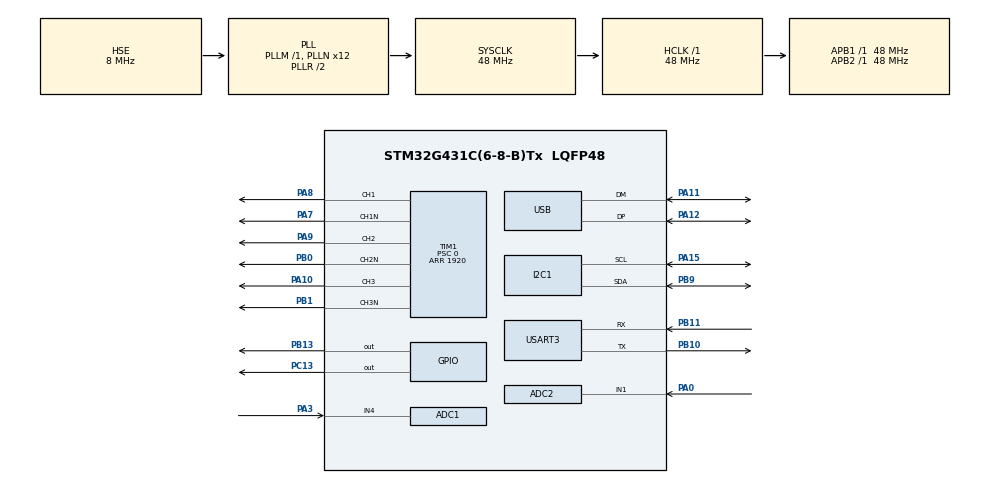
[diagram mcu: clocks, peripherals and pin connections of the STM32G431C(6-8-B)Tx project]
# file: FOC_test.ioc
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ADC1.Channel-1\#ChannelRegularConversion=ADC_CHANNEL_4
ADC1.NbrOfConversionFlag=1
ADC1.OffsetNumber-1\#ChannelRegularConversion=ADC_OFFSET_NONE
ADC1.Rank-1\#ChannelRegularConversion=1
ADC1.SamplingTime-1\#ChannelRegularConversion=ADC_SAMPLETIME_2CYCLES_5
ADC1.master=1
ADC2.Channel-1\#ChannelRegularConversion=ADC_CHANNEL_1
ADC2.NbrOfConversionFlag=1
ADC2.OffsetNumber-1\#ChannelRegularConversion=ADC_OFFSET_NONE
ADC2.Rank-1\#ChannelRegularConversion=1
ADC2.SamplingTime-1\#ChannelRegularConversion=ADC_SAMPLETIME_2CYCLES_5
I2C1.Timing=0x20303E5D
Mcu.Family=STM32G4
Mcu.Name=STM32G431C(6-8-B)Tx
Mcu.Package=LQFP48
NVIC.PriorityGroup=NVIC_PRIORITYGROUP_4
NVIC.USART3_IRQn=true\:0\:0\:false\:false\:true\:true\:true\:true
NVIC.USB_LP_IRQn=true\:0\:0\:false\:false\:true\:false\:true\:true
PA0.Mode=IN1-Single-Ended
PA0.Signal=ADC2_IN1
PA10.Signal=S_TIM1_CH3
PA11.Mode=Device
PA11.Signal=USB_DM
PA12.Mode=Device
PA12.Signal=USB_DP
PA13.Mode=Serial_Wire
PA13.Signal=SYS_JTMS-SWDIO
PA14.Mode=Serial_Wire
PA14.Signal=SYS_JTCK-SWCLK
PA15.Mode=I2C
PA15.Signal=I2C1_SCL
PA3.Mode=IN4-Single-Ended
PA3.Signal=ADC1_IN4
PA7.Mode=PWM Generation1 CH1 CH1N
PA7.Signal=TIM1_CH1N
PA8.Signal=S_TIM1_CH1
PA9.Signal=S_TIM1_CH2
PB0.Mode=PWM Generation2 CH2 CH2N
PB0.Signal=TIM1_CH2N
PB1.Mode=PWM Generation3 CH3 CH3N
PB1.Signal=TIM1_CH3N
PB10.Mode=Asynchronous
PB10.Signal=USART3_TX
PB11.Mode=Asynchronous
PB11.Signal=USART3_RX
PB13.Signal=GPIO_Output
PB9.Mode=I2C
PB9.Signal=I2C1_SDA
PC13.Signal=GPIO_Output
PF0-OSC_IN.Mode=HSE-External-Oscillator
PF0-OSC_IN.Signal=RCC_OSC_IN
PF1-OSC_OUT.Mode=HSE-External-Oscillator
PF1-OSC_OUT.Signal=RCC_OSC_OUT
ProjectManager.HeapSize=0x200
ProjectManager.StackSize=0x400
ProjectManager.TargetToolchain=STM32CubeIDE
RCC.ADC12Freq_Value=48000000
RCC.AHBFreq_Value=48000000
RCC.APB1Freq_Value=48000000
RCC.APB1TimFreq_Value=48000000
RCC.APB2Freq_Value=48000000
RCC.APB2TimFreq_Value=48000000
RCC.CortexFreq_Value=48000000
RCC.EXTERNAL_CLOCK_VALUE=12288000
RCC.HCLKFreq_Value=48000000
RCC.HSE_VALUE=8000000
RCC.HSI48_VALUE=48000000
RCC.HSI_VALUE=16000000
RCC.LSE_VALUE=32768
RCC.PLLN=12
RCC.PLLSourceVirtual=RCC_PLLSOURCE_HSE
RCC.SYSCLKFreq_VALUE=48000000
RCC.SYSCLKSource=RCC_SYSCLKSOURCE_PLLCLK
RCC.USBFreq_Value=48000000
RCC.VCOOutputFreq_Value=96000000
SH.S_TIM1_CH1.0=TIM1_CH1,PWM Generation1 CH1 CH1N
SH.S_TIM1_CH2.0=TIM1_CH2,PWM Generation2 CH2 CH2N
SH.S_TIM1_CH3.0=TIM1_CH3,PWM Generation3 CH3 CH3N
TIM1.Channel-PWM\ Generation1\ CH1\ CH1N=TIM_CHANNEL_1
TIM1.Channel-PWM\ Generation2\ CH2\ CH2N=TIM_CHANNEL_2
TIM1.Channel-PWM\ Generation3\ CH3\ CH3N=TIM_CHANNEL_3
TIM1.PeriodNoDither=1920
TIM1.Prescaler=0
TIM1.PulseNoDither_1=999
TIM1.PulseNoDither_2=999
TIM1.PulseNoDither_3=999
USART3.VirtualMode-Asynchronous=VM_ASYNC
USB_DEVICE.CLASS_NAME_FS=CDC
USB_DEVICE.VirtualMode=Cdc
USB_DEVICE.VirtualModeFS=Cdc_FS
VP_SYS_VS_DBSignals.Mode=DisableDeadBatterySignals
VP_TIM1_VS_ClockSourceINT.Mode=Internal
VP_USB_DEVICE_VS_USB_DEVICE_CDC_FS.Mode=CDC_FS
board=custom

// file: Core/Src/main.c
/* USER CODE BEGIN Header */
/**
  ******************************************************************************
  * @file           : main.c
  * @brief          : Main program body
  ******************************************************************************
  * @attention
  *
  * Copyright (c) 2023 STMicroelectronics.
  * All rights reserved.
  *
  * This software is licensed under terms that can be found in the LICENSE file
  * in the root directory of this software component.
  * If no LICENSE file comes with this software, it is provided AS-IS.
  *
  ******************************************************************************
  */
/* USER CODE END Header */
#include "main.h"
#include "adc.h"
#include "i2c.h"
#include "tim.h"
#include "usart.h"
#include "usb_device.h"
#include "gpio.h"

/* USER CODE BEGIN Includes */
#include "BLDCMotor.h"
#include "FOCMotor.h"
#include "stm32g4xx_hal.h"
#include "stm32g4xx_it.h"
/* USER CODE END Includes */

/* USER CODE BEGIN PTD */
#define AS5600_I2C_HANDLE hi2c1
#define I2C_TIME_OUT_BASE   10
#define I2C_TIME_OUT_BYTE   1
#define AS5600_RAW_ADDR    0x36
#define AS5600_ADDR        (AS5600_RAW_ADDR << 1)
#define AS5600_WRITE_ADDR  (AS5600_RAW_ADDR << 1)
#define AS5600_READ_ADDR   ((AS5600_RAW_ADDR << 1) | 1)
#define AS5600_RESOLUTION 4096 //12bit Resolution
#define AS5600_RAW_ANGLE_REGISTER  0x0C

/* USER CODE END PTD */

/* USER CODE BEGIN PV */
static int i2cWrite(uint8_t dev_addr, uint8_t *pData, uint32_t count) {
    int status;
    int i2c_time_out = I2C_TIME_OUT_BASE + count * I2C_TIME_OUT_BYTE;
    status = HAL_I2C_Master_Transmit(&AS5600_I2C_HANDLE, dev_addr, pData, count, i2c_time_out);
    return status;
}
static int i2cRead(uint8_t dev_addr, uint8_t *pData, uint32_t count) {
    int status;
    int i2c_time_out = I2C_TIME_OUT_BASE + count * I2C_TIME_OUT_BYTE;
    status = HAL_I2C_Master_Receive(&AS5600_I2C_HANDLE, (dev_addr | 1), pData, count, i2c_time_out);
    return status;
}
uint16_t AS5600_ReadAngle(void) {
    uint16_t raw_angle;
    uint8_t buffer[2] = {0};
    uint8_t raw_angle_register = AS5600_RAW_ANGLE_REGISTER;
    i2cWrite(AS5600_ADDR, &raw_angle_register, 1);
    i2cRead(AS5600_ADDR, buffer, 2);
    raw_angle = ((uint16_t)buffer[0] << 8) | (uint16_t)buffer[1];
    return raw_angle;
}
/* USER CODE END PV */

void SystemClock_Config(void);

/* USER CODE BEGIN 0 */
#define RX_BUFFER_SIZE 64
extern uint8_t rx_buffer[RX_BUFFER_SIZE];
uint8_t value[RX_BUFFER_SIZE];
uint8_t ans[RX_BUFFER_SIZE];
uint8_t rx_index = 0;
/* USER CODE END 0 */

int main(void)
{

  /* MCU Configuration--------------------------------------------------------*/

  /* Reset of all peripherals, Initializes the Flash interface and the Systick. */
  HAL_Init();

  /* Configure the system clock */
  SystemClock_Config();

  /* Initialize all configured peripherals */
  MX_GPIO_Init();
  MX_ADC1_Init();
  MX_I2C1_Init();
  MX_ADC2_Init();
  MX_TIM1_Init();
  MX_USART3_UART_Init();
  MX_USB_Device_Init();
  /* USER CODE BEGIN 2 */
    HAL_UART_Receive_IT(&huart3,(uint8_t *)value,1);
  /* USER CODE END 2 */

  /* Infinite loop */
  /* USER CODE BEGIN WHILE */
  char buffer[1024];
  uint16_t ADC_Value=0;
  HAL_GPIO_WritePin(GPIOB,GPIO_PIN_13,GPIO_PIN_SET);
//  HAL_TIM_OC_Start(&htim1,TIM_CHANNEL_1);
//  HAL_TIM_OC_Start(&htim1,TIM_CHANNEL_2);
//  HAL_TIM_OC_Start(&htim1,TIM_CHANNEL_3);

    HAL_TIM_PWM_Start(&htim1,TIM_CHANNEL_1);
    HAL_TIM_PWM_Start(&htim1,TIM_CHANNEL_2);
    HAL_TIM_PWM_Start(&htim1,TIM_CHANNEL_3);
    voltage_power_supply=12;   //V
    voltage_limit=6.9;           //V?????????12/1.732=6.9????????????????0.5-1????????????????1-3
    velocity_limit=100;         //rad/s angleOpenloop() use it
    controller=Type_velocity_openloop;  //Type_angle_openloop;  //
    pole_pairs=12;              //????
  while (1)
  {
//      HAL_GPIO_WritePin(GPIOC,GPIO_PIN_13,GPIO_PIN_SET);
//      HAL_Delay(100);
//      HAL_GPIO_WritePin(GPIOC,GPIO_PIN_13,GPIO_PIN_RESET);
//      HAL_Delay(100);
//      memset(buffer,0,sizeof (buffer));
//      HAL_ADC_Start(&hadc2);
//      ADC_Value = HAL_ADC_GetValue(&hadc2);
//      sprintf(buffer,"ADC2: %d\n",ADC_Value);
//      CDC_Transmit_FS(buffer,strlen(buffer));
//      memset(buffer,0,sizeof (buffer));
//      HAL_ADC_Start(&hadc1);
//      ADC_Value = HAL_ADC_GetValue(&hadc1);
//      sprintf(buffer,"ADC1: %d\n",ADC_Value);
//      CDC_Transmit_FS(buffer,strlen(buffer));

//      uint16_t angle = AS5600_ReadAngle();
//      memset(buffer,0,sizeof(buffer));
//      sprintf(buffer,"angle: %d\n",angle);
//      CDC_Transmit_FS(buffer, strlen(buffer));
      uint8_t x=0;
//        if(strlen(ans)){
//            if(ans[0]=='l'){
//                x=0;
//                for(int i=1;i< strlen(ans);i++){
//                    if(ans[i]>='0'&&ans[i]<='9'){
//                        x=x*10+(ans[i]-'0');
//                    }
//                }
//                double pr=10.0*((double)x/1024.0);
//                memset(buffer,0,sizeof(buffer));
//                sprintf(buffer,"res: %s : %d\n",ans,x);
//                CDC_Transmit_FS(buffer, strlen(buffer));
//                move(pr);
//            }else if(ans[0]=='r'){
//                x=0;
//                for(int i=1;i< strlen(ans);i++){
//                    if(ans[i]>='0'&&ans[i]<='9'){
//                        x=x*10+(ans[i]-'0');
//                    }
//                }
//                double pr=-10.0*((double)x/1024.0);
//                memset(buffer,0,sizeof(buffer));
//                sprintf(buffer,"res: %s : %d :%lf\n",ans,x,pr);
//                CDC_Transmit_FS(buffer, strlen(buffer));
//                move(pr);
//            }
//        }

move(10);
//      HAL_GPIO_WritePin(GPIOB,GPIO_PIN_13,GPIO_PIN_SET);

//      HAL_GPIO_WritePin(GPIOA,GPIO_PIN_8,GPIO_PIN_SET);
//      HAL_GPIO_WritePin(GPIOA,GPIO_PIN_9,GPIO_PIN_RESET);
//      HAL_GPIO_WritePin(GPIOA,GPIO_PIN_10,GPIO_PIN_SET);
//      HAL_Delay(5);
//      HAL_GPIO_WritePin(GPIOA,GPIO_PIN_8,GPIO_PIN_RESET);
//      HAL_GPIO_WritePin(GPIOA,GPIO_PIN_9,GPIO_PIN_RESET);
//      HAL_GPIO_WritePin(GPIOA,GPIO_PIN_10,GPIO_PIN_SET);
//      HAL_Delay(5);
//      HAL_GPIO_WritePin(GPIOA,GPIO_PIN_8,GPIO_PIN_RESET);
//      HAL_GPIO_WritePin(GPIOA,GPIO_PIN_9,GPIO_PIN_SET);
//      HAL_GPIO_WritePin(GPIOA,GPIO_PIN_10,GPIO_PIN_SET);
//      HAL_Delay(5);
//      HAL_GPIO_WritePin(GPIOA,GPIO_PIN_8,GPIO_PIN_RESET);
//      HAL_GPIO_WritePin(GPIOA,GPIO_PIN_9,GPIO_PIN_SET);
//      HAL_GPIO_WritePin(GPIOA,GPIO_PIN_10,GPIO_PIN_RESET);
//      HAL_Delay(5);
//      HAL_GPIO_WritePin(GPIOA,GPIO_PIN_8,GPIO_PIN_SET);
//      HAL_GPIO_WritePin(GPIOA,GPIO_PIN_9,GPIO_PIN_SET);
//      HAL_GPIO_WritePin(GPIOA,GPIO_PIN_10,GPIO_PIN_RESET);
//      HAL_Delay(5);
//      HAL_GPIO_WritePin(GPIOA,GPIO_PIN_8,GPIO_PIN_SET);
//      HAL_GPIO_WritePin(GPIOA,GPIO_PIN_9,GPIO_PIN_RESET);
//      HAL_GPIO_WritePin(GPIOA,GPIO_PIN_10,GPIO_PIN_RESET);
//      HAL_Delay(5);

//      HAL_GPIO_WritePin(GPIOB,GPIO_PIN_13,GPIO_PIN_RESET);
    /* USER CODE END WHILE */

  }
}

void SystemClock_Config(void)
{
  RCC_OscInitTypeDef RCC_OscInitStruct = {0};
  RCC_ClkInitTypeDef RCC_ClkInitStruct = {0};

  /** Configure the main internal regulator output voltage
  */
  HAL_PWREx_ControlVoltageScaling(PWR_REGULATOR_VOLTAGE_SCALE1);

  /** Initializes the RCC Oscillators according to the specified parameters
  * in the RCC_OscInitTypeDef structure.
  */
  RCC_OscInitStruct.OscillatorType = RCC_OSCILLATORTYPE_HSE;
  RCC_OscInitStruct.HSEState = RCC_HSE_ON;
  RCC_OscInitStruct.PLL.PLLState = RCC_PLL_ON;
  RCC_OscInitStruct.PLL.PLLSource = RCC_PLLSOURCE_HSE;
  RCC_OscInitStruct.PLL.PLLM = RCC_PLLM_DIV1;
  RCC_OscInitStruct.PLL.PLLN = 12;
  RCC_OscInitStruct.PLL.PLLP = RCC_PLLP_DIV2;
  RCC_OscInitStruct.PLL.PLLQ = RCC_PLLQ_DIV2;
  RCC_OscInitStruct.PLL.PLLR = RCC_PLLR_DIV2;
  if (HAL_RCC_OscConfig(&RCC_OscInitStruct) != HAL_OK)
  {
    Error_Handler();
  }

  /** Initializes the CPU, AHB and APB buses clocks
  */
  RCC_ClkInitStruct.ClockType = RCC_CLOCKTYPE_HCLK|RCC_CLOCKTYPE_SYSCLK
                              |RCC_CLOCKTYPE_PCLK1|RCC_CLOCKTYPE_PCLK2;
  RCC_ClkInitStruct.SYSCLKSource = RCC_SYSCLKSOURCE_PLLCLK;
  RCC_ClkInitStruct.AHBCLKDivider = RCC_SYSCLK_DIV1;
  RCC_ClkInitStruct.APB1CLKDivider = RCC_HCLK_DIV1;
  RCC_ClkInitStruct.APB2CLKDivider = RCC_HCLK_DIV1;

  if (HAL_RCC_ClockConfig(&RCC_ClkInitStruct, FLASH_LATENCY_1) != HAL_OK)
  {
    Error_Handler();
  }
}

void Error_Handler(void)
{
  __disable_irq();
  while (1)
  {
  }
}
